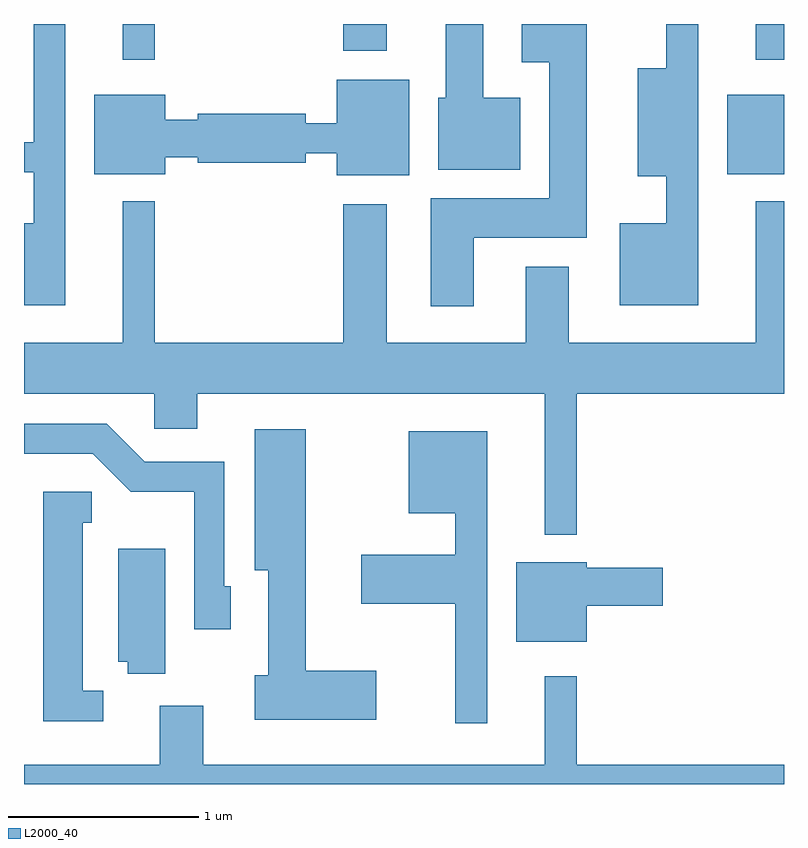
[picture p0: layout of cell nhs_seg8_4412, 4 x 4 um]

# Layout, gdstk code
import gdstk
lib = gdstk.Library(unit=1e-6, precision=1e-09)
def R(c, l, rs):  # rectangles x0, y0, x1, y1
    for r in rs: c.add(gdstk.rectangle(r[:2], r[2:], *l))
def P(c, l, *ps):  # polygons
    for p in ps: c.add(gdstk.Polygon(p, *l))
L2000_40 = (2000, 40)

nhs_seg8_4412 = lib.new_cell('nhs_seg8_4412')
R(nhs_seg8_4412, L2000_40, [(321.311,1857.551,321.611,1857.969), (318.131,1858.153,318.299,1858.342), (321.461,1858.153,321.611,1858.342), (319.291,1858.201,319.519,1858.342)])
P(nhs_seg8_4412, L2000_40, [(320.224,1857.954),(320.029,1857.954),(320.029,1858.342),(319.831,1858.342),(319.831,1857.954),(319.791,1857.954),(319.791,1857.576),(320.224,1857.576)],
  [(317.829,1858.342),(317.661,1858.342),(317.661,1857.719),(317.611,1857.719),(317.611,1857.561),(317.661,1857.561),(317.661,1857.294),(317.611,1857.294),(317.611,1856.861),(317.829,1856.861)],
  [(319.979,1857.216),(320.574,1857.216),(320.574,1858.342),(320.231,1858.342),(320.231,1858.141),(320.376,1858.141),(320.376,1857.424),(319.751,1857.424),(319.751,1856.856),(319.979,1856.856)],
  [(321.159,1858.342),(320.991,1858.342),(320.991,1858.109),(320.841,1858.109),(320.841,1857.541),(320.991,1857.541),(320.991,1857.294),(320.746,1857.294),(320.746,1856.861),(321.159,1856.861)],
  [(319.639,1858.049),(319.256,1858.049),(319.256,1857.819),(319.094,1857.819),(319.094,1857.869),(318.526,1857.869),(318.526,1857.839),(318.354,1857.839),(318.354,1857.969),(317.981,1857.969),(317.981,1857.551),(318.354,1857.551),(318.354,1857.641),(318.526,1857.641),(318.526,1857.611),(319.094,1857.611),(319.094,1857.661),(319.256,1857.661),(319.256,1857.546),(319.639,1857.546)],
  [(320.519,1856.396),(321.611,1856.396),(321.611,1857.408),(321.461,1857.408),(321.461,1856.664),(320.479,1856.664),(320.479,1857.064),(320.251,1857.064),(320.251,1856.664),(319.519,1856.664),(319.519,1857.394),(319.291,1857.394),(319.291,1856.664),(318.299,1856.664),(318.299,1857.408),(318.131,1857.408),(318.131,1856.664),(317.611,1856.664),(317.611,1856.396),(318.296,1856.396),(318.296,1856.211),(318.524,1856.211),(318.524,1856.396),(320.351,1856.396),(320.351,1855.653),(320.519,1855.653)],
  [(318.699,1855.384),(318.664,1855.384),(318.664,1856.039),(318.247,1856.039),(318.047,1856.239),(317.611,1856.239),(317.611,1856.081),(317.974,1856.081),(318.174,1855.881),(318.506,1855.881),(318.506,1855.156),(318.699,1855.156)],
  [(319.464,1854.939),(319.094,1854.939),(319.094,1856.209),(318.826,1856.209),(318.826,1855.466),(318.896,1855.466),(318.896,1854.914),(318.826,1854.914),(318.826,1854.681),(319.464,1854.681)],
  [(320.049,1856.199),(319.636,1856.199),(319.636,1855.766),(319.881,1855.766),(319.881,1855.549),(319.386,1855.549),(319.386,1855.291),(319.881,1855.291),(319.881,1854.663),(320.049,1854.663)],
  [(318.028,1854.834),(317.919,1854.834),(317.919,1855.716),(317.968,1855.716),(317.968,1855.879),(317.711,1855.879),(317.711,1854.671),(318.028,1854.671)],
  [(318.354,1855.579),(318.106,1855.579),(318.106,1854.986),(318.156,1854.986),(318.156,1854.921),(318.354,1854.921)],
  [(320.574,1855.281),(320.974,1855.281),(320.974,1855.479),(320.574,1855.479),(320.574,1855.509),(320.201,1855.509),(320.201,1855.091),(320.574,1855.091)],
  [(321.611,1854.444),(320.519,1854.444),(320.519,1854.908),(320.351,1854.908),(320.351,1854.444),(318.554,1854.444),(318.554,1854.754),(318.326,1854.754),(318.326,1854.444),(317.611,1854.444),(317.611,1854.342),(321.611,1854.342)])

lib.write_gds('nhs_seg8_4412.gds')
